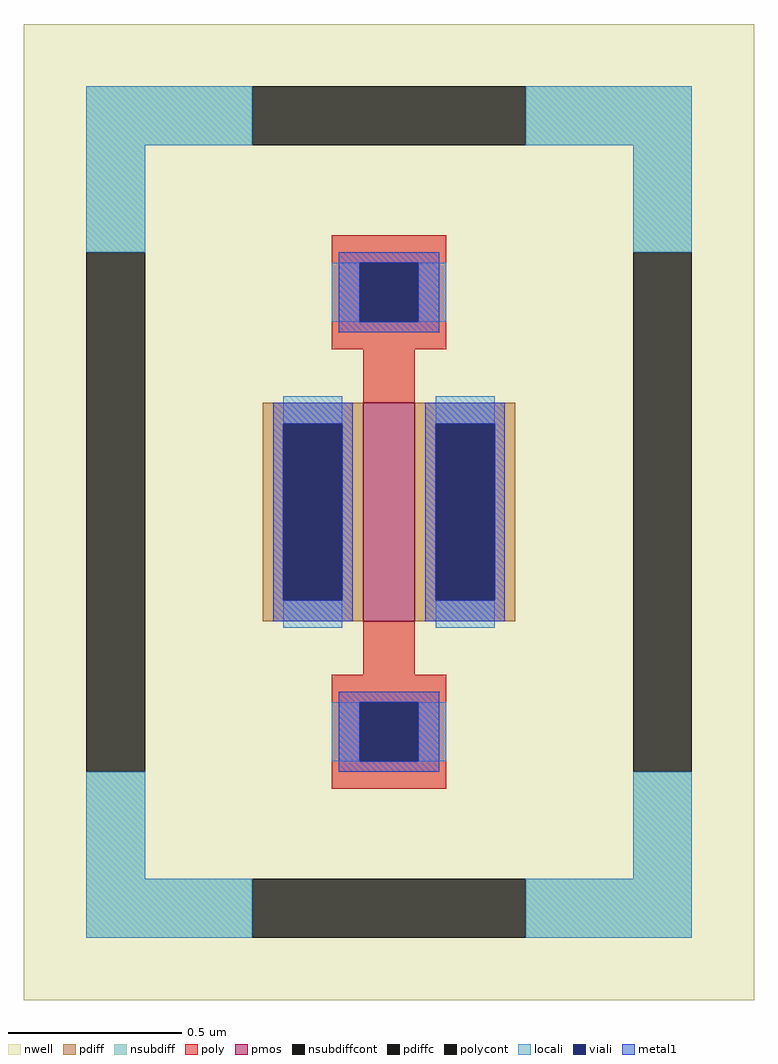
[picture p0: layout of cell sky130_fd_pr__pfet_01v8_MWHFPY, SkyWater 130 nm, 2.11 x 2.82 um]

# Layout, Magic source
magic
tech sky130A
magscale 1 2
<< nwell >>
rect -211 -282 211 282
<< pmos >>
rect -15 -63 15 63
<< pdiff >>
rect -73 51 -15 63
rect -73 -51 -61 51
rect -27 -51 -15 51
rect -73 -63 -15 -51
rect 15 51 73 63
rect 15 -51 27 51
rect 61 -51 73 51
rect 15 -63 73 -51
<< pdiffc >>
rect -61 -51 -27 51
rect 27 -51 61 51
<< nsubdiff >>
rect -175 212 -79 246
rect 79 212 175 246
rect -175 150 -141 212
rect 141 150 175 212
rect -175 -212 -141 -150
rect 141 -212 175 -150
rect -175 -246 -79 -212
rect 79 -246 175 -212
<< nsubdiffcont >>
rect -79 212 79 246
rect -175 -150 -141 150
rect 141 -150 175 150
rect -79 -246 79 -212
<< poly >>
rect -33 144 33 160
rect -33 110 -17 144
rect 17 110 33 144
rect -33 94 33 110
rect -15 63 15 94
rect -15 -94 15 -63
rect -33 -110 33 -94
rect -33 -144 -17 -110
rect 17 -144 33 -110
rect -33 -160 33 -144
<< polycont >>
rect -17 110 17 144
rect -17 -144 17 -110
<< locali >>
rect -175 212 -79 246
rect 79 212 175 246
rect -175 150 -141 212
rect 141 150 175 212
rect -33 110 -17 144
rect 17 110 33 144
rect -61 51 -27 67
rect -61 -67 -27 -51
rect 27 51 61 67
rect 27 -67 61 -51
rect -33 -144 -17 -110
rect 17 -144 33 -110
rect -175 -212 -141 -150
rect 141 -212 175 -150
rect -175 -246 -79 -212
rect 79 -246 175 -212
<< viali >>
rect -17 110 17 144
rect -61 -51 -27 51
rect 27 -51 61 51
rect -17 -144 17 -110
<< metal1 >>
rect -29 144 29 150
rect -29 110 -17 144
rect 17 110 29 144
rect -29 104 29 110
rect -67 51 -21 63
rect -67 -51 -61 51
rect -27 -51 -21 51
rect -67 -63 -21 -51
rect 21 51 67 63
rect 21 -51 27 51
rect 61 -51 67 51
rect 21 -63 67 -51
rect -29 -110 29 -104
rect -29 -144 -17 -110
rect 17 -144 29 -110
rect -29 -150 29 -144
<< properties >>
string FIXED_BBOX -158 -229 158 229
string gencell sky130_fd_pr__pfet_01v8
string library sky130
string parameters w 0.63 l 0.15 m 1 nf 1 diffcov 100 polycov 100 guard 1 glc 1 grc 1 gtc 1 gbc 1 tbcov 100 rlcov 100 topc 1 botc 1 poverlap 0 doverlap 1 lmin 0.15 wmin 0.42 compatible {sky130_fd_pr__pfet_01v8  sky130_fd_pr__pfet_01v8_lvt sky130_fd_pr__pfet_01v8_hvt  sky130_fd_pr__pfet_g5v0d10v5} full_metal 1 viasrc 100 viadrn 100 viagate 100 viagb 0 viagr 0 viagl 0 viagt 0
<< end >>
